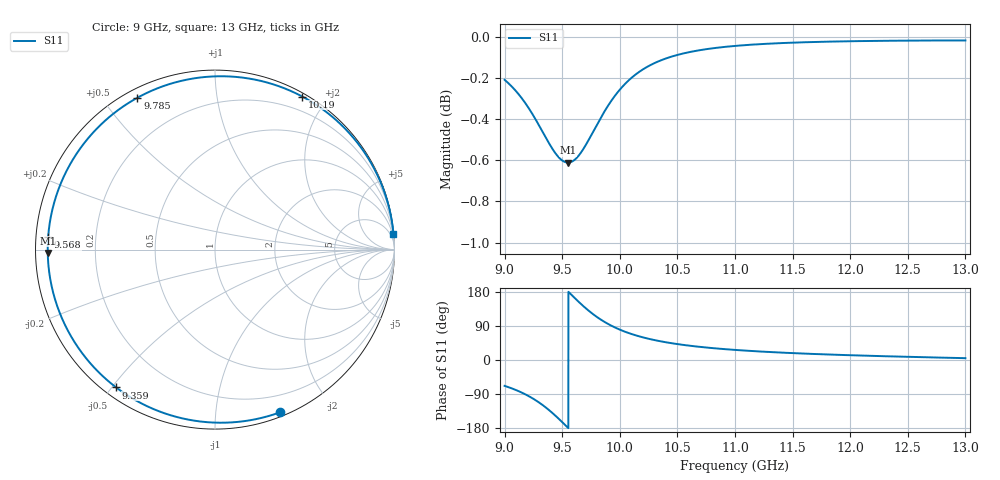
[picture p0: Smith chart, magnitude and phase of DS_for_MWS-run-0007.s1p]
! TOUCHSTONE file generated by CST DESIGN STUDIO
! Date and time: Tue Feb  4 18:07:18 2025
! Project name: C:\Work\MatlabApps\UnitCellOptimizationMatlab\CST\unitcell.cst
! Tree item: Tasks\Sweep1\SPara1\S-Parameters
! Header version: 2024
! Port assignment regex: !\s*Touchstone port\s*([0-9]+)\s*=\s*(CST MWS port|CST DES external port|CST DES block port)\s*(.+)\s* \(\"(.*)\"\)(\s*mode\s*([0-9]+))?.*
! Touchstone port assignment:
! Touchstone port 1 = CST DES external port 1 ("")
# GHz S MA R 50
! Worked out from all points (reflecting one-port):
!   4001 points, 9 GHz to 13 GHz, reference 50 ohm
!   lowest |S11| = -0.6 dB at 9.55 GHz (marker M1), VSWR 28.45, Z = 1.76 - j0.488 ohm
!   phase of S11 starts at -68 deg and turns -287 deg over the sweep
!   S11 on the Smith chart (normalised r, x): 9 GHz: 0.04, -1.47; 9.359 GHz: 0.04, -0.51; 9.568 GHz: 0.04, +0.04; 9.785 GHz: 0.04, +0.61; 10.19 GHz: 0.04, +1.72; 13 GHz: 1, +24
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9  0.9763 -68.3
9.103  0.9698 -79.8
9.214  0.9605 -96.1
9.29  0.9526 -110.3
9.359  0.945 -125.6
9.427  0.9382 -143.0
9.465  0.9351 -153.7
9.5  0.9332 -163.9
9.55  0.9321 -178.9
9.568  0.9322 175.7
9.622  0.9343 159.6
9.683  0.9391 142.3
9.734  0.9444 129.0
9.785  0.9502 117.1
9.831  0.9553 107.4
9.881  0.9606 98.1
9.936  0.9657 89.1
10  0.9709 80.1
10.093  0.9769 69.4
10.194  0.9817 60.3
10.334  0.9864 50.5
10.5  0.99 42.0
10.721  0.9929 33.8
11  0.995 26.6
11.5  0.9968 18.2
12  0.9976 12.6
12.5  0.9979 8.4
13  0.998 4.8
